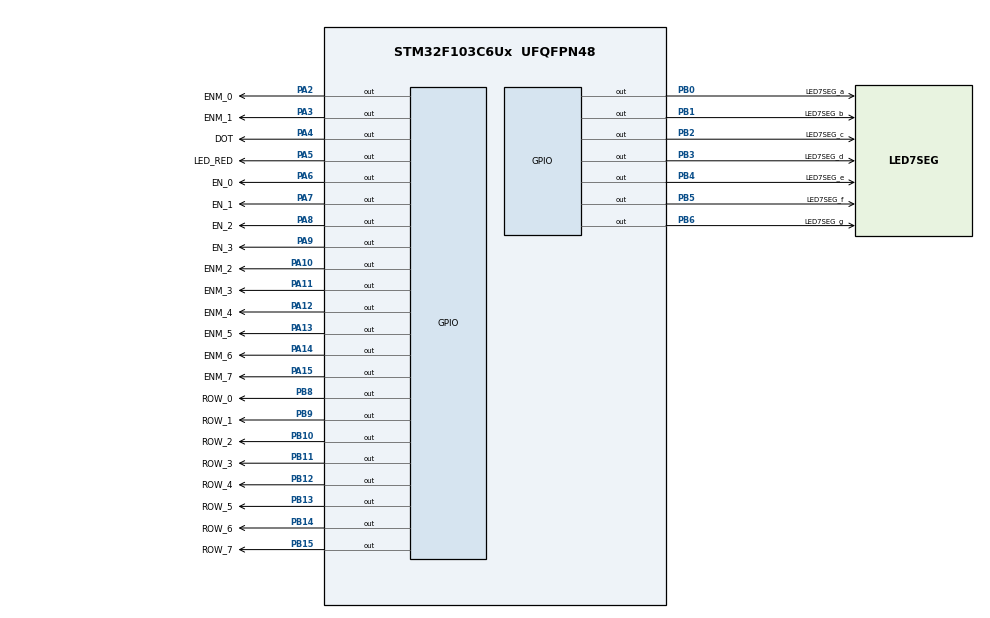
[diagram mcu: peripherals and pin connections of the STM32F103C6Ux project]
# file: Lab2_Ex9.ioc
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Mcu.Family=STM32F1
Mcu.Name=STM32F103C6Ux
Mcu.Package=UFQFPN48
NVIC.PriorityGroup=NVIC_PRIORITYGROUP_4
NVIC.TIM2_IRQn=true\:0\:0\:false\:false\:true\:true\:true
PA10.GPIO_Label=ENM_2
PA10.Signal=GPIO_Output
PA11.GPIO_Label=ENM_3
PA11.Signal=GPIO_Output
PA12.GPIO_Label=ENM_4
PA12.Signal=GPIO_Output
PA13.GPIO_Label=ENM_5
PA13.Signal=GPIO_Output
PA14.GPIO_Label=ENM_6
PA14.Signal=GPIO_Output
PA15.GPIO_Label=ENM_7
PA15.Signal=GPIO_Output
PA2.GPIO_Label=ENM_0
PA2.Signal=GPIO_Output
PA3.GPIO_Label=ENM_1
PA3.Signal=GPIO_Output
PA4.GPIO_Label=DOT
PA4.Signal=GPIO_Output
PA5.GPIO_Label=LED_RED
PA5.Signal=GPIO_Output
PA6.GPIO_Label=EN_0
PA6.Signal=GPIO_Output
PA7.GPIO_Label=EN_1
PA7.Signal=GPIO_Output
PA8.GPIO_Label=EN_2
PA8.Signal=GPIO_Output
PA9.GPIO_Label=EN_3
PA9.Signal=GPIO_Output
PB0.GPIO_Label=LED7SEG_a
PB0.Signal=GPIO_Output
PB1.GPIO_Label=LED7SEG_b
PB1.Signal=GPIO_Output
PB10.GPIO_Label=ROW_2
PB10.Signal=GPIO_Output
PB11.GPIO_Label=ROW_3
PB11.Signal=GPIO_Output
PB12.GPIO_Label=ROW_4
PB12.Signal=GPIO_Output
PB13.GPIO_Label=ROW_5
PB13.Signal=GPIO_Output
PB14.GPIO_Label=ROW_6
PB14.Signal=GPIO_Output
PB15.GPIO_Label=ROW_7
PB15.Signal=GPIO_Output
PB2.GPIO_Label=LED7SEG_c
PB2.Signal=GPIO_Output
PB3.GPIO_Label=LED7SEG_d
PB3.Signal=GPIO_Output
PB4.GPIO_Label=LED7SEG_e
PB4.Signal=GPIO_Output
PB5.GPIO_Label=LED7SEG_f
PB5.Signal=GPIO_Output
PB6.GPIO_Label=LED7SEG_g
PB6.Signal=GPIO_Output
PB8.GPIO_Label=ROW_0
PB8.Signal=GPIO_Output
PB9.GPIO_Label=ROW_1
PB9.Signal=GPIO_Output
ProjectManager.HeapSize=0x200
ProjectManager.StackSize=0x400
ProjectManager.TargetToolchain=STM32CubeIDE
RCC.APB1Freq_Value=8000000
RCC.APB2Freq_Value=8000000
TIM2.Period=9
TIM2.Prescaler=7999
VP_SYS_VS_ND.Mode=No_Debug
VP_TIM2_VS_ClockSourceINT.Mode=Internal
board=custom

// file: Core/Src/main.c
/* USER CODE BEGIN Header */
/**
  ******************************************************************************
  * @file           : main.c
  * @brief          : Main program body
  ******************************************************************************
  * @attention
  *
  * <h2><center>&copy; Copyright (c) 2025 STMicroelectronics.
  * All rights reserved.</center></h2>
  *
  * This software component is licensed by ST under BSD 3-Clause license,
  * the "License"; You may not use this file except in compliance with the
  * License. You may obtain a copy of the License at:
  *                        opensource.org/licenses/BSD-3-Clause
  *
  ******************************************************************************
  */
/* USER CODE END Header */
#include "main.h"

/* USER CODE BEGIN Includes */
#include "led7seg.h"
#include "software_timer.h"
#include "led_matrix.h"
/* USER CODE END Includes */

TIM_HandleTypeDef htim2;

/* USER CODE BEGIN PV */
int hour = 15, minute = 8, second = 50;
int index_7seg = 0;
int index_matrix = 0;
/* USER CODE END PV */

void SystemClock_Config(void);
static void MX_GPIO_Init(void);
static void MX_TIM2_Init(void);
void updateClockBuffer();

int main(void)
{

  /* MCU Configuration--------------------------------------------------------*/

  /* Reset of all peripherals, Initializes the Flash interface and the Systick. */
  HAL_Init();

  /* Configure the system clock */
  SystemClock_Config();

  /* Initialize all configured peripherals */
  MX_GPIO_Init();
  MX_TIM2_Init();
  /* USER CODE BEGIN 2 */
   HAL_TIM_Base_Start_IT(&htim2);
  HAL_GPIO_WritePin(LED_RED_GPIO_Port, LED_RED_Pin, GPIO_PIN_SET);

  // CHỈ CẦN TIMER 0 CHO MATRIX
  setTimer0(10);

  // Initialize clock buffer
  updateClockBuffer();
  /* USER CODE END 2 */

  /* Infinite loop */
  /* USER CODE BEGIN WHILE */
  int matrix_index = 0;

  while (1)
  {
      if (timer0_flag == 1) {
          updateLEDMatrix(matrix_index);
          matrix_index = (matrix_index + 1) % 8;
          setTimer0(10); // Quét nhanh 2ms cho mượt
      }
  }
  /* USER CODE END WHILE */
}

void SystemClock_Config(void)
{
  RCC_OscInitTypeDef RCC_OscInitStruct = {0};
  RCC_ClkInitTypeDef RCC_ClkInitStruct = {0};

  /** Initializes the RCC Oscillators according to the specified parameters
  * in the RCC_OscInitTypeDef structure.
  */
  RCC_OscInitStruct.OscillatorType = RCC_OSCILLATORTYPE_HSI;
  RCC_OscInitStruct.HSIState = RCC_HSI_ON;
  RCC_OscInitStruct.HSICalibrationValue = RCC_HSICALIBRATION_DEFAULT;
  RCC_OscInitStruct.PLL.PLLState = RCC_PLL_NONE;
  if (HAL_RCC_OscConfig(&RCC_OscInitStruct) != HAL_OK)
  {
    Error_Handler();
  }
  /** Initializes the CPU, AHB and APB buses clocks
  */
  RCC_ClkInitStruct.ClockType = RCC_CLOCKTYPE_HCLK|RCC_CLOCKTYPE_SYSCLK
                              |RCC_CLOCKTYPE_PCLK1|RCC_CLOCKTYPE_PCLK2;
  RCC_ClkInitStruct.SYSCLKSource = RCC_SYSCLKSOURCE_HSI;
  RCC_ClkInitStruct.AHBCLKDivider = RCC_SYSCLK_DIV1;
  RCC_ClkInitStruct.APB1CLKDivider = RCC_HCLK_DIV1;
  RCC_ClkInitStruct.APB2CLKDivider = RCC_HCLK_DIV1;

  if (HAL_RCC_ClockConfig(&RCC_ClkInitStruct, FLASH_LATENCY_0) != HAL_OK)
  {
    Error_Handler();
  }
}

static void MX_TIM2_Init(void)
{

  TIM_ClockConfigTypeDef sClockSourceConfig = {0};
  TIM_MasterConfigTypeDef sMasterConfig = {0};

  htim2.Instance = TIM2;
  htim2.Init.Prescaler = 7999;
  htim2.Init.CounterMode = TIM_COUNTERMODE_UP;
  htim2.Init.Period = 9;
  htim2.Init.ClockDivision = TIM_CLOCKDIVISION_DIV1;
  htim2.Init.AutoReloadPreload = TIM_AUTORELOAD_PRELOAD_DISABLE;
  if (HAL_TIM_Base_Init(&htim2) != HAL_OK)
  {
    Error_Handler();
  }
  sClockSourceConfig.ClockSource = TIM_CLOCKSOURCE_INTERNAL;
  if (HAL_TIM_ConfigClockSource(&htim2, &sClockSourceConfig) != HAL_OK)
  {
    Error_Handler();
  }
  sMasterConfig.MasterOutputTrigger = TIM_TRGO_RESET;
  sMasterConfig.MasterSlaveMode = TIM_MASTERSLAVEMODE_DISABLE;
  if (HAL_TIMEx_MasterConfigSynchronization(&htim2, &sMasterConfig) != HAL_OK)
  {
    Error_Handler();
  }

}

static void MX_GPIO_Init(void)
{
  GPIO_InitTypeDef GPIO_InitStruct = {0};

  /* GPIO Ports Clock Enable */
  __HAL_RCC_GPIOA_CLK_ENABLE();
  __HAL_RCC_GPIOB_CLK_ENABLE();

  /*Configure GPIO pin Output Level */
  HAL_GPIO_WritePin(GPIOA, ENM_0_Pin|ENM_1_Pin|DOT_Pin|LED_RED_Pin
                          |EN_0_Pin|EN_1_Pin|EN_2_Pin|EN_3_Pin
                          |ENM_2_Pin|ENM_3_Pin|ENM_4_Pin|ENM_5_Pin
                          |ENM_6_Pin|ENM_7_Pin, GPIO_PIN_RESET);

  /*Configure GPIO pin Output Level */
  HAL_GPIO_WritePin(GPIOB, LED7SEG_a_Pin|LED7SEG_b_Pin|LED7SEG_c_Pin|ROW_2_Pin
                          |ROW_3_Pin|ROW_4_Pin|ROW_5_Pin|ROW_6_Pin
                          |ROW_7_Pin|LED7SEG_d_Pin|LED7SEG_e_Pin|LED7SEG_f_Pin
                          |LED7SEG_g_Pin|ROW_0_Pin|ROW_1_Pin, GPIO_PIN_RESET);

  /*Configure GPIO pins : ENM_0_Pin ENM_1_Pin DOT_Pin LED_RED_Pin
                           EN_0_Pin EN_1_Pin EN_2_Pin EN_3_Pin
                           ENM_2_Pin ENM_3_Pin ENM_4_Pin ENM_5_Pin
                           ENM_6_Pin ENM_7_Pin */
  GPIO_InitStruct.Pin = ENM_0_Pin|ENM_1_Pin|DOT_Pin|LED_RED_Pin
                          |EN_0_Pin|EN_1_Pin|EN_2_Pin|EN_3_Pin
                          |ENM_2_Pin|ENM_3_Pin|ENM_4_Pin|ENM_5_Pin
                          |ENM_6_Pin|ENM_7_Pin;
  GPIO_InitStruct.Mode = GPIO_MODE_OUTPUT_PP;
  GPIO_InitStruct.Pull = GPIO_NOPULL;
  GPIO_InitStruct.Speed = GPIO_SPEED_FREQ_LOW;
  HAL_GPIO_Init(GPIOA, &GPIO_InitStruct);

  /*Configure GPIO pins : LED7SEG_a_Pin LED7SEG_b_Pin LED7SEG_c_Pin ROW_2_Pin
                           ROW_3_Pin ROW_4_Pin ROW_5_Pin ROW_6_Pin
                           ROW_7_Pin LED7SEG_d_Pin LED7SEG_e_Pin LED7SEG_f_Pin
                           LED7SEG_g_Pin ROW_0_Pin ROW_1_Pin */
  GPIO_InitStruct.Pin = LED7SEG_a_Pin|LED7SEG_b_Pin|LED7SEG_c_Pin|ROW_2_Pin
                          |ROW_3_Pin|ROW_4_Pin|ROW_5_Pin|ROW_6_Pin
                          |ROW_7_Pin|LED7SEG_d_Pin|LED7SEG_e_Pin|LED7SEG_f_Pin
                          |LED7SEG_g_Pin|ROW_0_Pin|ROW_1_Pin;
  GPIO_InitStruct.Mode = GPIO_MODE_OUTPUT_PP;
  GPIO_InitStruct.Pull = GPIO_NOPULL;
  GPIO_InitStruct.Speed = GPIO_SPEED_FREQ_LOW;
  HAL_GPIO_Init(GPIOB, &GPIO_InitStruct);

}

/* USER CODE BEGIN 4 */
void HAL_TIM_PeriodElapsedCallback(TIM_HandleTypeDef *htim) {
    timer_run();
}

void updateClockBuffer() {
    led_buffer[0] = hour / 10;
    led_buffer[1] = hour % 10;
    led_buffer[2] = minute / 10;
    led_buffer[3] = minute % 10;
}
/* USER CODE END 4 */

void Error_Handler(void)
{
  __disable_irq();
  while (1)
  {
  }
}

/************************ (C) COPYRIGHT STMicroelectronics *****END OF FILE****/
